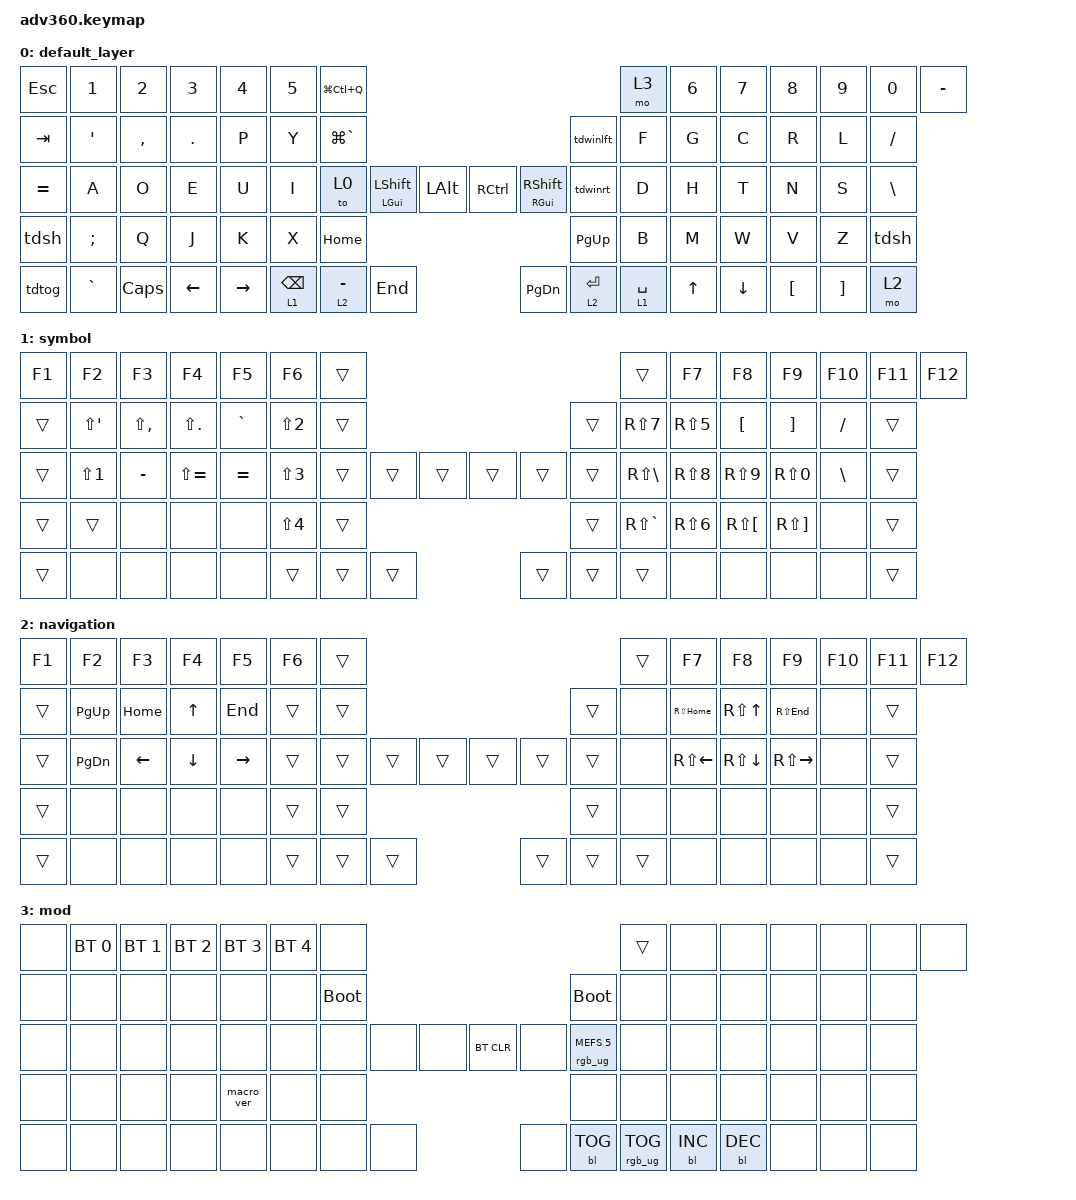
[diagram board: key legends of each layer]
#include <behaviors.dtsi>
#include <dt-bindings/zmk/keys.h>
#include <dt-bindings/zmk/bt.h>
#include <dt-bindings/zmk/rgb.h>
#include <dt-bindings/zmk/backlight.h>

/* Custom Device-tree */
&sk {
  quick-release;
};

&lt {
  quick-tap-ms = <200>;
  tapping-term-ms = <175>;
};

/* Custom Defined Behaviors */
/ {

    behaviors {

       /* For the mod keys on the shift, allow them to do one
        * modifier on hold, but a different modifier (sticky) on tap. */    
        sht: sticky_hold_tap {
            compatible = "zmk,behavior-hold-tap";
            #binding-cells = <2>;
            flavor = "tap-preferred";
            tapping-term-ms = <175>;
            quick-tap-ms = <200>;
            bindings = <&kp>, <&sk>;
        };

        /* For shift keys, a tap dance lets them be shift or caps word. */  
        tdsh: tap_dance_shift {
            compatible = "zmk,behavior-tap-dance";
            #binding-cells = <0>;
            tapping-term-ms = <200>;
            bindings = <&kp LSFT>, <&caps_word>;
        };

        /* Let the bottom corner button toggle layers based on a tap dance. */
        tdtog: tap_dance_layer_toggle {
            compatible = "zmk,behavior-tap-dance";
            #binding-cells = <0>;
            tapping-term-ms = <200>;
            bindings = <&tog 1>, <&tog 2>;
        };

        /* Command keys for Rectangle.app */
        tdwinlft: tap_dance_window_left {
          compatible = "zmk,behavior-tap-dance";
          #binding-cells = <0>;
          bindings = <&kp LA(LC(LEFT))>, <&kp LA(LG(LS(LEFT)))>, <&kp LC(LA(E))>;
        };

        tdwinrt: tap_dance_window_right {
          compatible = "zmk,behavior-tap-dance";
          #binding-cells = <0>;
          bindings = <&kp LA(LC(RIGHT))>, <&kp LA(LG(LS(RIGHT)))>, <&kp LC(LA(T))>;
        };
    };

};

/ {
    behaviors {
      #include "macros.dtsi"
      #include "version.dtsi"
      #ifndef VERSION_MACRO
      macro_ver: macro_ver {
        compatible = "zmk,behavior-macro";
        label = "macro_version";
        #binding-cells = <0>;
        bindings = <&kp RET>;
      };
      #endif

      hm: homerow_mods {
          compatible = "zmk,behavior-hold-tap";
          label = "HOMEROW_MODS";
          #binding-cells = <2>;
          tapping-term-ms = <200>;
          quick_tap_ms = <175>;
          flavor = "tap-preferred";
          bindings = <&kp>, <&kp>;
      };
    };

  keymap {
    compatible = "zmk,keymap";
 
    default_layer {
      bindings = <
        &kp ESC   &kp N1    &kp N2    &kp N3   &kp N4     &kp N5 &kp LG(LC(Q))                                                           &mo 3 &kp N6 &kp N7 &kp N8   &kp N9   &kp N0   &kp MINUS
        &kp TAB   &kp SQT   &kp COMMA &kp DOT  &kp P      &kp Y  &kp LG(GRAVE)                                                   &tdwinlft &kp F  &kp G  &kp C    &kp R    &kp L    &kp SLASH
        &kp EQUAL &kp A     &kp O     &kp E    &kp U      &kp I  &to 0     &sht LGUI LSHFT &kp LALT &kp RCTRL &sht RGUI RSHFT    &tdwinrt &kp D  &kp H  &kp T    &kp N    &kp S    &kp BSLH
        &tdsh     &kp SEMI  &kp Q     &kp J    &kp K      &kp X                            &kp HOME &kp PG_UP                           &kp B  &kp M  &kp W    &kp V    &kp Z    &tdsh
        &tdtog    &kp GRAVE &kp CAPS &kp LEFT &kp RIGHT            &lt 1 BSPC &lt 2 MINUS  &kp END  &kp PG_DN &lt 2 ENTER &lt 1 SPACE          &kp UP &kp DOWN  &kp LBKT &kp RBKT &mo 2
      >;
    };
    symbol {
      bindings = <
        &kp F1 &kp F2      &kp F3        &kp F4         &kp F5    &kp F6  &trans                                            &trans  &kp F7        &kp F8     &kp F9       &kp F10      &kp F11   &kp F12
        &trans &kp LS(SQT) &kp LS(COMMA) &kp LS(DOT)    &kp GRAVE &kp LS(N2)  &trans                                        &trans &kp RS(N7)    &kp RS(N5) &kp LBKT     &kp RBKT     &kp FSLH  &trans
        &trans &kp LS(N1)  &kp MINUS     &kp LS(EQUAL)  &kp EQUAL &kp LS(N3)  &trans        &trans &trans &trans &trans     &trans &kp RS(BSLH)  &kp RS(N8) &kp RS(N9)   &kp RS(N0)   &kp BSLH  &trans
        &trans &trans      &none         &none          &none     &kp LS(N4)                      &trans &trans                    &kp RS(GRAVE) &kp RS(N6) &kp RS(LBKT) &kp RS(RBKT) &none     &trans
        &trans &none       &none         &none          &none                &trans &trans &trans &trans &trans &trans                           &none      &none        &none        &none     &trans        
      >;
    };
    navigation {
      bindings = <
        &kp F1 &kp F2    &kp F3         &kp F4         &kp F5          &kp F6  &trans                                           &trans  &kp F7 &kp F8             &kp F9             &kp F10             &kp F11 &kp F12
        &trans &kp PG_UP &kp HOME       &kp UP_ARROW   &kp END         &trans  &trans                                           &trans &none  &kp RS(HOME)       &kp RS(UP_ARROW)   &kp RS(END)         &none   &trans
        &trans &kp PG_DN &kp LEFT_ARROW &kp DOWN_ARROW &kp RIGHT_ARROW &trans  &trans        &trans &trans &trans &trans        &trans &none  &kp RS(LEFT_ARROW) &kp RS(DOWN_ARROW) &kp RS(RIGHT_ARROW) &none   &trans
        &trans &none     &none          &none          &none           &trans                      &trans &trans                       &none  &none              &none              &none               &none   &trans
        &trans &none     &none          &none          &none                      &trans &trans &trans &trans &trans &trans                   &none              &none              &none               &none   &trans
      >;
    };
    mod {
      bindings = <
        &none &bt BT_SEL 0 &bt BT_SEL 1 &bt BT_SEL 2 &bt BT_SEL 3 &bt BT_SEL 4 &none                                                                     &trans                 &none        &none        &none        &none &none &none
        &none &none        &none        &none        &none        &none        &bootloader                                                               &bootloader            &none        &none        &none        &none &none &none
        &none &none        &none        &none        &none        &none        &none                   &none &none &bt BT_CLR &none                      &rgb_ug RGB_MEFS_CMD 5 &none        &none        &none        &none &none &none
        &none &none        &none        &none        &macro_ver   &none                                      &none &none                                                        &none        &none        &none        &none &none &none
        &none &none        &none        &none        &none                                       &none &none &none &none      &bl BL_TOG &rgb_ug RGB_TOG                                     &bl BL_INC   &bl BL_DEC   &none &none &none
      >;
    };
  };
};
